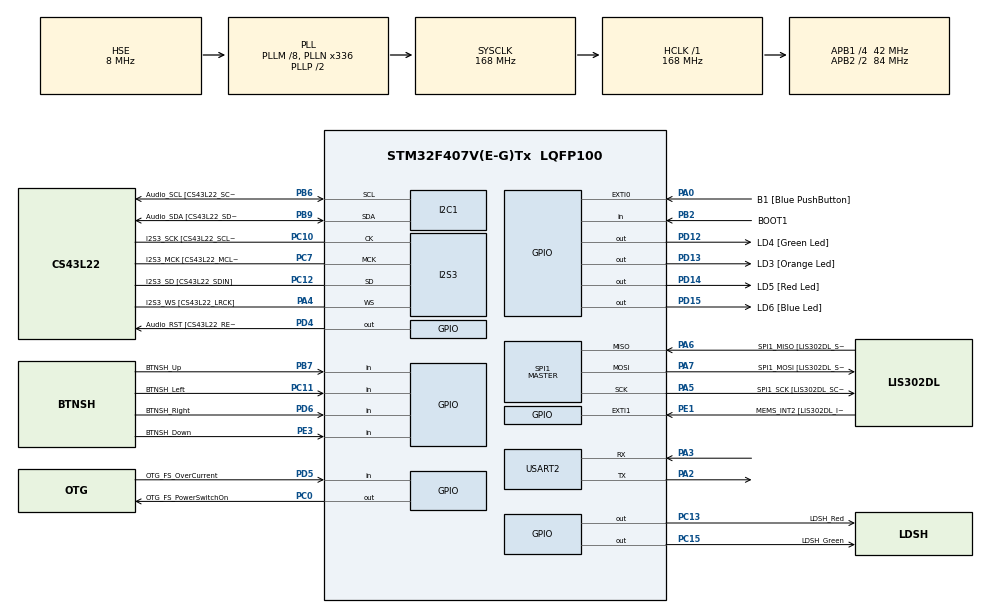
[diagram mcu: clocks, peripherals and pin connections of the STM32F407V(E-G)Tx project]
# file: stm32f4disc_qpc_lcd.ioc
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I2S3.AudioFreq-Half_Duplex_Master=I2S_AUDIOFREQ_96K
I2S3.ErrorAudioFreq=-2.34 %
I2S3.ErrorAudioFreq-Half_Duplex_Master=0.8 %
I2S3.FullDuplexMode=I2S_FULLDUPLEXMODE_DISABLE
I2S3.Instance=SPI$Index
I2S3.RealAudioFreq=93.75 KHz
I2S3.RealAudioFreq-Half_Duplex_Master=96.774 KHz
I2S3.VirtualMode=I2S_MODE_MASTER
Mcu.Family=STM32F4
Mcu.Name=STM32F407V(E-G)Tx
Mcu.Package=LQFP100
NVIC.PriorityGroup=NVIC_PRIORITYGROUP_0
NVIC.USART2_IRQn=true\:0\:0\:false\:false\:false\:true\:true
PA0-WKUP.GPIO_Label=B1 [Blue PushButton]
PA0-WKUP.GPIO_ModeDefaultEXTI=GPIO_MODE_EVT_RISING
PA0-WKUP.GPIO_PuPd=GPIO_NOPULL
PA0-WKUP.Signal=GPXTI0
PA10.GPIO_Label=OTG_FS_ID
PA10.GPIO_Mode=GPIO_MODE_AF_PP
PA10.GPIO_PuPd=GPIO_NOPULL
PA10.GPIO_Speed=GPIO_SPEED_FREQ_LOW
PA10.Signal=USB_OTG_FS_ID
PA11.GPIO_Label=OTG_FS_DM
PA11.GPIO_Mode=GPIO_MODE_AF_PP
PA11.GPIO_PuPd=GPIO_NOPULL
PA11.GPIO_Speed=GPIO_SPEED_FREQ_LOW
PA11.Signal=USB_OTG_FS_DM
PA12.GPIO_Label=OTG_FS_DP
PA12.GPIO_Mode=GPIO_MODE_AF_PP
PA12.GPIO_PuPd=GPIO_NOPULL
PA12.GPIO_Speed=GPIO_SPEED_FREQ_LOW
PA12.Signal=USB_OTG_FS_DP
PA13.GPIO_Label=SWDIO
PA13.Mode=Serial_Wire
PA13.Signal=SYS_JTMS-SWDIO
PA14.GPIO_Label=SWCLK
PA14.Mode=Serial_Wire
PA14.Signal=SYS_JTCK-SWCLK
PA2.Mode=Asynchronous
PA2.Signal=USART2_TX
PA3.Mode=Asynchronous
PA3.Signal=USART2_RX
PA4.GPIO_Label=I2S3_WS [CS43L22_LRCK]
PA4.GPIO_Mode=GPIO_MODE_AF_PP
PA4.GPIO_PuPd=GPIO_NOPULL
PA4.GPIO_Speed=GPIO_SPEED_FREQ_LOW
PA4.Mode=Half_Duplex_Master
PA4.Signal=I2S3_WS
PA5.GPIO_Label=SPI1_SCK [LIS302DL_SCL/SPC]
PA5.GPIO_Mode=GPIO_MODE_AF_PP
PA5.GPIO_PuPd=GPIO_NOPULL
PA5.GPIO_Speed=GPIO_SPEED_FREQ_LOW
PA5.Mode=Full_Duplex_Master
PA5.Signal=SPI1_SCK
PA6.GPIO_Label=SPI1_MISO [LIS302DL_SDO]
PA6.GPIO_Mode=GPIO_MODE_AF_PP
PA6.GPIO_PuPd=GPIO_NOPULL
PA6.GPIO_Speed=GPIO_SPEED_FREQ_LOW
PA6.Mode=Full_Duplex_Master
PA6.Signal=SPI1_MISO
PA7.GPIO_Label=SPI1_MOSI [LIS302DL_SDA/SDI/SDO]
PA7.GPIO_Mode=GPIO_MODE_AF_PP
PA7.GPIO_PuPd=GPIO_NOPULL
PA7.GPIO_Speed=GPIO_SPEED_FREQ_LOW
PA7.Mode=Full_Duplex_Master
PA7.Signal=SPI1_MOSI
PA9.GPIO_Label=VBUS_FS
PA9.GPIO_Mode=GPIO_MODE_INPUT
PA9.GPIO_PuPd=GPIO_NOPULL
PA9.Signal=USB_OTG_FS_VBUS
PB10.GPIO_Label=CLK_IN [MP45DT02_CLK]
PB10.GPIO_Mode=GPIO_MODE_AF_PP
PB10.GPIO_PuPd=GPIO_NOPULL
PB10.GPIO_Speed=GPIO_SPEED_FREQ_LOW
PB10.Signal=I2S2_CK
PB2.GPIO_Label=BOOT1
PB2.GPIO_Mode=GPIO_MODE_INPUT
PB2.GPIO_PuPd=GPIO_NOPULL
PB2.Signal=GPIO_Input
PB3.GPIO_Label=SWO
PB3.Signal=SYS_JTDO-SWO
PB6.GPIO_Label=Audio_SCL [CS43L22_SCL]
PB6.GPIO_Mode=GPIO_MODE_AF_OD
PB6.GPIO_PuPd=GPIO_NOPULL
PB6.GPIO_Speed=GPIO_SPEED_FREQ_LOW
PB6.Mode=I2C
PB6.Signal=I2C1_SCL
PB7.GPIO_Label=BTNSH_Up
PB7.GPIO_PuPd=GPIO_PULLUP
PB7.Signal=GPIO_Input
PB9.GPIO_Label=Audio_SDA [CS43L22_SDA]
PB9.GPIO_Mode=GPIO_MODE_AF_OD
PB9.GPIO_PuPd=GPIO_NOPULL
PB9.GPIO_Speed=GPIO_SPEED_FREQ_LOW
PB9.Mode=I2C
PB9.Signal=I2C1_SDA
PC0.GPIO_Label=OTG_FS_PowerSwitchOn
PC0.GPIO_PuPd=GPIO_NOPULL
PC0.GPIO_Speed=GPIO_SPEED_FREQ_LOW
PC0.PinState=GPIO_PIN_SET
PC0.Signal=GPIO_Output
PC10.GPIO_Label=I2S3_SCK [CS43L22_SCLK]
PC10.GPIO_Mode=GPIO_MODE_AF_PP
PC10.GPIO_PuPd=GPIO_NOPULL
PC10.GPIO_Speed=GPIO_SPEED_FREQ_LOW
PC10.Mode=Half_Duplex_Master
PC10.Signal=I2S3_CK
PC11.GPIO_Label=BTNSH_Left
PC11.GPIO_PuPd=GPIO_PULLUP
PC11.Signal=GPIO_Input
PC12.GPIO_Label=I2S3_SD [CS43L22_SDIN]
PC12.GPIO_Mode=GPIO_MODE_AF_PP
PC12.GPIO_PuPd=GPIO_NOPULL
PC12.GPIO_Speed=GPIO_SPEED_FREQ_LOW
PC12.Mode=Half_Duplex_Master
PC12.Signal=I2S3_SD
PC13-ANTI_TAMP.GPIO_Label=LDSH_Red
PC13-ANTI_TAMP.Signal=GPIO_Output
PC15-OSC32_OUT.GPIO_Label=LDSH_Green
PC15-OSC32_OUT.Signal=GPIO_Output
PC3.GPIO_Label=PDM_OUT [MP45DT02_DOUT]
PC3.GPIO_Mode=GPIO_MODE_AF_PP
PC3.GPIO_PuPd=GPIO_NOPULL
PC3.GPIO_Speed=GPIO_SPEED_FREQ_LOW
PC3.Signal=I2S2_SD
PC7.GPIO_Label=I2S3_MCK [CS43L22_MCLK]
PC7.GPIO_Mode=GPIO_MODE_AF_PP
PC7.GPIO_PuPd=GPIO_NOPULL
PC7.GPIO_Speed=GPIO_SPEED_FREQ_LOW
PC7.Mode=Master_Clock_Activated
PC7.Signal=I2S3_MCK
PD12.GPIO_Label=LD4 [Green Led]
PD12.GPIO_PuPd=GPIO_NOPULL
PD12.GPIO_Speed=GPIO_SPEED_FREQ_LOW
PD12.Signal=GPIO_Output
PD13.GPIO_Label=LD3 [Orange Led]
PD13.GPIO_PuPd=GPIO_NOPULL
PD13.GPIO_Speed=GPIO_SPEED_FREQ_LOW
PD13.Signal=GPIO_Output
PD14.GPIO_Label=LD5 [Red Led]
PD14.GPIO_PuPd=GPIO_NOPULL
PD14.GPIO_Speed=GPIO_SPEED_FREQ_LOW
PD14.Signal=GPIO_Output
PD15.GPIO_Label=LD6 [Blue Led]
PD15.GPIO_PuPd=GPIO_NOPULL
PD15.GPIO_Speed=GPIO_SPEED_FREQ_LOW
PD15.Signal=GPIO_Output
PD4.GPIO_Label=Audio_RST [CS43L22_RESET]
PD4.GPIO_PuPd=GPIO_NOPULL
PD4.GPIO_Speed=GPIO_SPEED_FREQ_LOW
PD4.Signal=GPIO_Output
PD5.GPIO_Label=OTG_FS_OverCurrent
PD5.GPIO_Mode=GPIO_MODE_INPUT
PD5.GPIO_PuPd=GPIO_NOPULL
PD5.Signal=GPIO_Input
PD6.GPIO_Label=BTNSH_Right
PD6.GPIO_PuPd=GPIO_PULLUP
PD6.Signal=GPIO_Input
PE1.GPIO_Label=MEMS_INT2 [LIS302DL_INT2]
PE1.GPIO_ModeDefaultEXTI=GPIO_MODE_EVT_RISING
PE1.GPIO_PuPd=GPIO_NOPULL
PE1.Signal=GPXTI1
PE3.GPIO_Label=BTNSH_Down
PE3.GPIO_PuPd=GPIO_PULLUP
PE3.Signal=GPIO_Input
PH0-OSC_IN.GPIO_Label=PH0-OSC_IN
PH0-OSC_IN.Mode=HSE-External-Oscillator
PH0-OSC_IN.Signal=RCC_OSC_IN
PH1-OSC_OUT.GPIO_Label=PH1-OSC_OUT
PH1-OSC_OUT.Mode=HSE-External-Oscillator
PH1-OSC_OUT.Signal=RCC_OSC_OUT
ProjectManager.HeapSize=0x200
ProjectManager.StackSize=0x400
ProjectManager.TargetToolchain=Makefile
RCC.48MHZClocksFreq_Value=48000000
RCC.AHBFreq_Value=168000000
RCC.APB1CLKDivider=RCC_HCLK_DIV4
RCC.APB1Freq_Value=42000000
RCC.APB1TimFreq_Value=84000000
RCC.APB2CLKDivider=RCC_HCLK_DIV2
RCC.APB2Freq_Value=84000000
RCC.APB2TimFreq_Value=168000000
RCC.CortexFreq_Value=168000000
RCC.HCLKFreq_Value=168000000
RCC.HSE_VALUE=8000000
RCC.HSI_VALUE=16000000
RCC.LSE_VALUE=32768
RCC.PLLM=8
RCC.PLLN=336
RCC.PLLQ=7
RCC.PLLSourceVirtual=RCC_PLLSOURCE_HSE
RCC.SYSCLKFreq_VALUE=168000000
RCC.SYSCLKSource=RCC_SYSCLKSOURCE_PLLCLK
RCC.VCOOutputFreq_Value=336000000
SPI1.BaudRatePrescaler-Full_Duplex_Master=SPI_BAUDRATEPRESCALER_2
SPI1.CalculateBaudRate-Full_Duplex_Master=42.0 MBits/s
SPI1.Direction=SPI_DIRECTION_2LINES
SPI1.Mode=SPI_MODE_MASTER
SPI1.Mode-Full_Duplex_Master=SPI_MODE_MASTER
SPI1.VirtualType=VM_MASTER
USART2.VirtualMode=VM_ASYNC
board=STM32F4DISCOVERY

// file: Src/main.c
/* USER CODE BEGIN Header */
/**
  ******************************************************************************
  * @file           : main.c
  * @brief          : Main program body
  ******************************************************************************
  * This notice applies to any and all portions of this file
  * that are not between comment pairs USER CODE BEGIN and
  * USER CODE END. Other portions of this file, whether
  * inserted by the user or by software development tools
  * are owned by their respective copyright owners.
  *
  * Copyright (c) 2019 STMicroelectronics International N.V.
  * All rights reserved.
  *
  * Redistribution and use in source and binary forms, with or without
  * modification, are permitted, provided that the following conditions are met:
  *
  * 1. Redistribution of source code must retain the above copyright notice,
  *    this list of conditions and the following disclaimer.
  * 2. Redistributions in binary form must reproduce the above copyright notice,
  *    this list of conditions and the following disclaimer in the documentation
  *    and/or other materials provided with the distribution.
  * 3. Neither the name of STMicroelectronics nor the names of other
  *    contributors to this software may be used to endorse or promote products
  *    derived from this software without specific written permission.
  * 4. This software, including modifications and/or derivative works of this
  *    software, must execute solely and exclusively on microcontroller or
  *    microprocessor devices manufactured by or for STMicroelectronics.
  * 5. Redistribution and use of this software other than as permitted under
  *    this license is void and will automatically terminate your rights under
  *    this license.
  *
  * THIS SOFTWARE IS PROVIDED BY STMICROELECTRONICS AND CONTRIBUTORS "AS IS"
  * AND ANY EXPRESS, IMPLIED OR STATUTORY WARRANTIES, INCLUDING, BUT NOT
  * LIMITED TO, THE IMPLIED WARRANTIES OF MERCHANTABILITY, FITNESS FOR A
  * PARTICULAR PURPOSE AND NON-INFRINGEMENT OF THIRD PARTY INTELLECTUAL PROPERTY
  * RIGHTS ARE DISCLAIMED TO THE FULLEST EXTENT PERMITTED BY LAW. IN NO EVENT
  * SHALL STMICROELECTRONICS OR CONTRIBUTORS BE LIABLE FOR ANY DIRECT, INDIRECT,
  * INCIDENTAL, SPECIAL, EXEMPLARY, OR CONSEQUENTIAL DAMAGES (INCLUDING, BUT NOT
  * LIMITED TO, PROCUREMENT OF SUBSTITUTE GOODS OR SERVICES; LOSS OF USE, DATA,
  * OR PROFITS; OR BUSINESS INTERRUPTION) HOWEVER CAUSED AND ON ANY THEORY OF
  * LIABILITY, WHETHER IN CONTRACT, STRICT LIABILITY, OR TORT (INCLUDING
  * NEGLIGENCE OR OTHERWISE) ARISING IN ANY WAY OUT OF THE USE OF THIS SOFTWARE,
  * EVEN IF ADVISED OF THE POSSIBILITY OF SUCH DAMAGE.
  *
  ******************************************************************************
  */
#include <stdint.h>
/* USER CODE END Header */

#include "main.h"
#include "lvgl.h"

/* USER CODE BEGIN Includes */
#include "qpc.h"
#include "bsp.h"
#include "AppAO.h"
#include "AppSM.h"
/* USER CODE END Includes */

/* USER CODE BEGIN PD */
#define APP_QUEUE_SIZE 5
Q_DEFINE_THIS_FILE
/* USER CODE END PD */

I2C_HandleTypeDef hi2c1;

I2S_HandleTypeDef hi2s3;

SPI_HandleTypeDef hspi1;

/* USER CODE BEGIN PV */
static QEvt const *appQueueSto[APP_QUEUE_SIZE];
static QSubscrList subscrSto[MAX_PUB_SIG];
static QF_MPOOL_EL(key_event_t) smlPoolSto[10];

static QTicker l_ticker0;
QActive *the_Ticker0 = &l_ticker0;
/* USER CODE END PV */

void SystemClock_Config(void);
static void MX_GPIO_Init(void);
static void MX_I2S3_Init(void);
static void MX_SPI1_Init(void);
static void MX_USART2_UART_Init(void);
static void MX_I2C1_Init(void);

int main(void)
{
  /* USER CODE BEGIN 1 */
	QTicker_ctor(&l_ticker0, 0U); /* ticker AO for tick rate 0 */
	AppAO_ctor();
	QF_init();

	/* init publish-subscribe... */
	QF_psInit(subscrSto, Q_DIM(subscrSto));

	/* initialize event pools... */
	QF_poolInit(smlPoolSto, sizeof(smlPoolSto), sizeof(smlPoolSto[0]));

  /* USER CODE END 1 */

  /* MCU Configuration--------------------------------------------------------*/

  /* Reset of all peripherals, Initializes the Flash interface and the Systick. */
  HAL_Init();

  /* Configure the system clock */
  SystemClock_Config();

  /* USER CODE BEGIN SysInit */

  /* initialize the Board Support Package
  * NOTE: BSP_init() is called *after* initializing publish-subscribe and
  * event pools, to make the system ready to accept SysTick interrupts.
  * Unfortunately, the STM32Cube code that must be called from BSP,
  * configures and starts SysTick.
  */

  /* USER CODE END SysInit */

  /* Initialize all configured peripherals */
  MX_GPIO_Init();
  MX_I2S3_Init();
  MX_SPI1_Init();
  MX_USART2_UART_Init();
  MX_I2C1_Init();
  /* USER CODE BEGIN 2 */
  BSP_init();

  /* object dictionaries for AOs... */
  QS_OBJ_DICTIONARY(AO_App);

  /* signal dictionaries for globally published events... */
  QS_SIG_DICTIONARY(BTNSH_ON,      (void *)0);
  QS_SIG_DICTIONARY(BTNSH_OFF,     (void *)0);

  QACTIVE_START(the_Ticker0, 1U, 0, 0, 0, 0, 0);
  QACTIVE_START(AO_App,                  /* AO to start */
                (uint_fast8_t)(2),       /* QP priority of the AO */
				appQueueSto,             /* event queue storage */
                Q_DIM(appQueueSto),      /* queue length [events] */
                (void *)0,                 /* stack storage (not used) */
                0U,                        /* size of the stack [bytes] */
                (QEvt *)0);                /* initialization event */

  return QF_run(); /* run the QF application */
#if 0
  /* USER CODE END 2 */

  /* Infinite loop */
  while (1)
  {

    /* USER CODE BEGIN 3 */
  }
#endif
  /* USER CODE END 3 */
}

void SystemClock_Config(void)
{
  RCC_OscInitTypeDef RCC_OscInitStruct = {0};
  RCC_ClkInitTypeDef RCC_ClkInitStruct = {0};
  RCC_PeriphCLKInitTypeDef PeriphClkInitStruct = {0};

  /** Configure the main internal regulator output voltage
  */
  __HAL_RCC_PWR_CLK_ENABLE();
  __HAL_PWR_VOLTAGESCALING_CONFIG(PWR_REGULATOR_VOLTAGE_SCALE1);
  /** Initializes the CPU, AHB and APB busses clocks
  */
  RCC_OscInitStruct.OscillatorType = RCC_OSCILLATORTYPE_HSE;
  RCC_OscInitStruct.HSEState = RCC_HSE_ON;
  RCC_OscInitStruct.PLL.PLLState = RCC_PLL_ON;
  RCC_OscInitStruct.PLL.PLLSource = RCC_PLLSOURCE_HSE;
  RCC_OscInitStruct.PLL.PLLM = 8;
  RCC_OscInitStruct.PLL.PLLN = 336;
  RCC_OscInitStruct.PLL.PLLP = RCC_PLLP_DIV2;
  RCC_OscInitStruct.PLL.PLLQ = 7;
  if (HAL_RCC_OscConfig(&RCC_OscInitStruct) != HAL_OK)
  {
    Error_Handler();
  }
  /** Initializes the CPU, AHB and APB busses clocks
  */
  RCC_ClkInitStruct.ClockType = RCC_CLOCKTYPE_HCLK|RCC_CLOCKTYPE_SYSCLK
                              |RCC_CLOCKTYPE_PCLK1|RCC_CLOCKTYPE_PCLK2;
  RCC_ClkInitStruct.SYSCLKSource = RCC_SYSCLKSOURCE_PLLCLK;
  RCC_ClkInitStruct.AHBCLKDivider = RCC_SYSCLK_DIV1;
  RCC_ClkInitStruct.APB1CLKDivider = RCC_HCLK_DIV4;
  RCC_ClkInitStruct.APB2CLKDivider = RCC_HCLK_DIV2;

  if (HAL_RCC_ClockConfig(&RCC_ClkInitStruct, FLASH_LATENCY_5) != HAL_OK)
  {
    Error_Handler();
  }
  PeriphClkInitStruct.PeriphClockSelection = RCC_PERIPHCLK_I2S;
  PeriphClkInitStruct.PLLI2S.PLLI2SN = 192;
  PeriphClkInitStruct.PLLI2S.PLLI2SR = 2;
  if (HAL_RCCEx_PeriphCLKConfig(&PeriphClkInitStruct) != HAL_OK)
  {
    Error_Handler();
  }
}

static void MX_I2C1_Init(void)
{

  hi2c1.Instance = I2C1;
  hi2c1.Init.ClockSpeed = 100000;
  hi2c1.Init.DutyCycle = I2C_DUTYCYCLE_2;
  hi2c1.Init.OwnAddress1 = 0;
  hi2c1.Init.AddressingMode = I2C_ADDRESSINGMODE_7BIT;
  hi2c1.Init.DualAddressMode = I2C_DUALADDRESS_DISABLE;
  hi2c1.Init.OwnAddress2 = 0;
  hi2c1.Init.GeneralCallMode = I2C_GENERALCALL_DISABLE;
  hi2c1.Init.NoStretchMode = I2C_NOSTRETCH_DISABLE;
  if (HAL_I2C_Init(&hi2c1) != HAL_OK)
  {
    Error_Handler();
  }

}

static void MX_I2S3_Init(void)
{

  hi2s3.Instance = SPI3;
  hi2s3.Init.Mode = I2S_MODE_MASTER_TX;
  hi2s3.Init.Standard = I2S_STANDARD_PHILIPS;
  hi2s3.Init.DataFormat = I2S_DATAFORMAT_16B;
  hi2s3.Init.MCLKOutput = I2S_MCLKOUTPUT_ENABLE;
  hi2s3.Init.AudioFreq = I2S_AUDIOFREQ_96K;
  hi2s3.Init.CPOL = I2S_CPOL_LOW;
  hi2s3.Init.ClockSource = I2S_CLOCK_PLL;
  hi2s3.Init.FullDuplexMode = I2S_FULLDUPLEXMODE_DISABLE;
  if (HAL_I2S_Init(&hi2s3) != HAL_OK)
  {
    Error_Handler();
  }

}

static void MX_SPI1_Init(void)
{

  /* SPI1 parameter configuration*/
  hspi1.Instance = SPI1;
  hspi1.Init.Mode = SPI_MODE_MASTER;
  hspi1.Init.Direction = SPI_DIRECTION_2LINES;
  hspi1.Init.DataSize = SPI_DATASIZE_8BIT;
  hspi1.Init.CLKPolarity = SPI_POLARITY_LOW;
  hspi1.Init.CLKPhase = SPI_PHASE_1EDGE;
  hspi1.Init.NSS = SPI_NSS_SOFT;
  hspi1.Init.BaudRatePrescaler = SPI_BAUDRATEPRESCALER_2;
  hspi1.Init.FirstBit = SPI_FIRSTBIT_MSB;
  hspi1.Init.TIMode = SPI_TIMODE_DISABLE;
  hspi1.Init.CRCCalculation = SPI_CRCCALCULATION_DISABLE;
  hspi1.Init.CRCPolynomial = 10;
  if (HAL_SPI_Init(&hspi1) != HAL_OK)
  {
    Error_Handler();
  }

}

static void MX_USART2_UART_Init(void)
{

  LL_USART_InitTypeDef USART_InitStruct = {0};

  LL_GPIO_InitTypeDef GPIO_InitStruct = {0};

  /* Peripheral clock enable */
  LL_APB1_GRP1_EnableClock(LL_APB1_GRP1_PERIPH_USART2);

  LL_AHB1_GRP1_EnableClock(LL_AHB1_GRP1_PERIPH_GPIOA);
  /**USART2 GPIO Configuration
  PA2   ------> USART2_TX
  PA3   ------> USART2_RX
  */
  GPIO_InitStruct.Pin = LL_GPIO_PIN_2|LL_GPIO_PIN_3;
  GPIO_InitStruct.Mode = LL_GPIO_MODE_ALTERNATE;
  GPIO_InitStruct.Speed = LL_GPIO_SPEED_FREQ_VERY_HIGH;
  GPIO_InitStruct.OutputType = LL_GPIO_OUTPUT_PUSHPULL;
  GPIO_InitStruct.Pull = LL_GPIO_PULL_UP;
  GPIO_InitStruct.Alternate = LL_GPIO_AF_7;
  LL_GPIO_Init(GPIOA, &GPIO_InitStruct);

  /* USART2 interrupt Init */
  NVIC_SetPriority(USART2_IRQn, NVIC_EncodePriority(NVIC_GetPriorityGrouping(),0, 0));
  NVIC_EnableIRQ(USART2_IRQn);

  USART_InitStruct.BaudRate = 115200;
  USART_InitStruct.DataWidth = LL_USART_DATAWIDTH_8B;
  USART_InitStruct.StopBits = LL_USART_STOPBITS_1;
  USART_InitStruct.Parity = LL_USART_PARITY_NONE;
  USART_InitStruct.TransferDirection = LL_USART_DIRECTION_TX_RX;
  USART_InitStruct.HardwareFlowControl = LL_USART_HWCONTROL_NONE;
  USART_InitStruct.OverSampling = LL_USART_OVERSAMPLING_16;
  LL_USART_Init(USART2, &USART_InitStruct);
  LL_USART_ConfigAsyncMode(USART2);
  LL_USART_Enable(USART2);

}

static void MX_GPIO_Init(void)
{
  LL_EXTI_InitTypeDef EXTI_InitStruct = {0};
  LL_GPIO_InitTypeDef GPIO_InitStruct = {0};

  /* GPIO Ports Clock Enable */
  LL_AHB1_GRP1_EnableClock(LL_AHB1_GRP1_PERIPH_GPIOE);
  LL_AHB1_GRP1_EnableClock(LL_AHB1_GRP1_PERIPH_GPIOC);
  LL_AHB1_GRP1_EnableClock(LL_AHB1_GRP1_PERIPH_GPIOH);
  LL_AHB1_GRP1_EnableClock(LL_AHB1_GRP1_PERIPH_GPIOA);
  LL_AHB1_GRP1_EnableClock(LL_AHB1_GRP1_PERIPH_GPIOB);
  LL_AHB1_GRP1_EnableClock(LL_AHB1_GRP1_PERIPH_GPIOD);

  /**/
  LL_GPIO_ResetOutputPin(GPIOC, LDSH_Red_Pin|LDSH_Green_Pin);

  /**/
  LL_GPIO_ResetOutputPin(GPIOD, LD4_Pin|LD3_Pin|LD5_Pin|LD6_Pin
                          |Audio_RST_Pin);

  /**/
  LL_GPIO_SetOutputPin(OTG_FS_PowerSwitchOn_GPIO_Port, OTG_FS_PowerSwitchOn_Pin);

  /**/
  GPIO_InitStruct.Pin = BTNSH_Down_Pin;
  GPIO_InitStruct.Mode = LL_GPIO_MODE_INPUT;
  GPIO_InitStruct.Pull = LL_GPIO_PULL_UP;
  LL_GPIO_Init(BTNSH_Down_GPIO_Port, &GPIO_InitStruct);

  /**/
  GPIO_InitStruct.Pin = LDSH_Red_Pin|LDSH_Green_Pin|OTG_FS_PowerSwitchOn_Pin;
  GPIO_InitStruct.Mode = LL_GPIO_MODE_OUTPUT;
  GPIO_InitStruct.Speed = LL_GPIO_SPEED_FREQ_LOW;
  GPIO_InitStruct.OutputType = LL_GPIO_OUTPUT_PUSHPULL;
  GPIO_InitStruct.Pull = LL_GPIO_PULL_NO;
  LL_GPIO_Init(GPIOC, &GPIO_InitStruct);

  /**/
  GPIO_InitStruct.Pin = PDM_OUT_Pin;
  GPIO_InitStruct.Mode = LL_GPIO_MODE_ALTERNATE;
  GPIO_InitStruct.Speed = LL_GPIO_SPEED_FREQ_LOW;
  GPIO_InitStruct.OutputType = LL_GPIO_OUTPUT_PUSHPULL;
  GPIO_InitStruct.Pull = LL_GPIO_PULL_NO;
  GPIO_InitStruct.Alternate = LL_GPIO_AF_5;
  LL_GPIO_Init(PDM_OUT_GPIO_Port, &GPIO_InitStruct);

  /**/
  GPIO_InitStruct.Pin = BOOT1_Pin;
  GPIO_InitStruct.Mode = LL_GPIO_MODE_INPUT;
  GPIO_InitStruct.Pull = LL_GPIO_PULL_NO;
  LL_GPIO_Init(BOOT1_GPIO_Port, &GPIO_InitStruct);

  /**/
  GPIO_InitStruct.Pin = CLK_IN_Pin;
  GPIO_InitStruct.Mode = LL_GPIO_MODE_ALTERNATE;
  GPIO_InitStruct.Speed = LL_GPIO_SPEED_FREQ_LOW;
  GPIO_InitStruct.OutputType = LL_GPIO_OUTPUT_PUSHPULL;
  GPIO_InitStruct.Pull = LL_GPIO_PULL_NO;
  GPIO_InitStruct.Alternate = LL_GPIO_AF_5;
  LL_GPIO_Init(CLK_IN_GPIO_Port, &GPIO_InitStruct);

  /**/
  GPIO_InitStruct.Pin = LD4_Pin|LD3_Pin|LD5_Pin|LD6_Pin
                          |Audio_RST_Pin;
  GPIO_InitStruct.Mode = LL_GPIO_MODE_OUTPUT;
  GPIO_InitStruct.Speed = LL_GPIO_SPEED_FREQ_LOW;
  GPIO_InitStruct.OutputType = LL_GPIO_OUTPUT_PUSHPULL;
  GPIO_InitStruct.Pull = LL_GPIO_PULL_NO;
  LL_GPIO_Init(GPIOD, &GPIO_InitStruct);

  /**/
  GPIO_InitStruct.Pin = VBUS_FS_Pin;
  GPIO_InitStruct.Mode = LL_GPIO_MODE_INPUT;
  GPIO_InitStruct.Pull = LL_GPIO_PULL_NO;
  LL_GPIO_Init(VBUS_FS_GPIO_Port, &GPIO_InitStruct);

  /**/
  GPIO_InitStruct.Pin = OTG_FS_ID_Pin|OTG_FS_DM_Pin|OTG_FS_DP_Pin;
  GPIO_InitStruct.Mode = LL_GPIO_MODE_ALTERNATE;
  GPIO_InitStruct.Speed = LL_GPIO_SPEED_FREQ_LOW;
  GPIO_InitStruct.OutputType = LL_GPIO_OUTPUT_PUSHPULL;
  GPIO_InitStruct.Pull = LL_GPIO_PULL_NO;
  GPIO_InitStruct.Alternate = LL_GPIO_AF_10;
  LL_GPIO_Init(GPIOA, &GPIO_InitStruct);

  /**/
  GPIO_InitStruct.Pin = BTNSH_Left_Pin;
  GPIO_InitStruct.Mode = LL_GPIO_MODE_INPUT;
  GPIO_InitStruct.Pull = LL_GPIO_PULL_UP;
  LL_GPIO_Init(BTNSH_Left_GPIO_Port, &GPIO_InitStruct);

  /**/
  GPIO_InitStruct.Pin = OTG_FS_OverCurrent_Pin;
  GPIO_InitStruct.Mode = LL_GPIO_MODE_INPUT;
  GPIO_InitStruct.Pull = LL_GPIO_PULL_NO;
  LL_GPIO_Init(OTG_FS_OverCurrent_GPIO_Port, &GPIO_InitStruct);

  /**/
  GPIO_InitStruct.Pin = BTNSH_Right_Pin;
  GPIO_InitStruct.Mode = LL_GPIO_MODE_INPUT;
  GPIO_InitStruct.Pull = LL_GPIO_PULL_UP;
  LL_GPIO_Init(BTNSH_Right_GPIO_Port, &GPIO_InitStruct);

  /**/
  GPIO_InitStruct.Pin = BTNSH_Up_Pin;
  GPIO_InitStruct.Mode = LL_GPIO_MODE_INPUT;
  GPIO_InitStruct.Pull = LL_GPIO_PULL_UP;
  LL_GPIO_Init(BTNSH_Up_GPIO_Port, &GPIO_InitStruct);

  /**/
  LL_SYSCFG_SetEXTISource(LL_SYSCFG_EXTI_PORTA, LL_SYSCFG_EXTI_LINE0);

  /**/
  LL_SYSCFG_SetEXTISource(LL_SYSCFG_EXTI_PORTE, LL_SYSCFG_EXTI_LINE1);

  /**/
  EXTI_InitStruct.Line_0_31 = LL_EXTI_LINE_0;
  EXTI_InitStruct.LineCommand = ENABLE;
  EXTI_InitStruct.Mode = LL_EXTI_MODE_EVENT;
  EXTI_InitStruct.Trigger = LL_EXTI_TRIGGER_RISING;
  LL_EXTI_Init(&EXTI_InitStruct);

  /**/
  EXTI_InitStruct.Line_0_31 = LL_EXTI_LINE_1;
  EXTI_InitStruct.LineCommand = ENABLE;
  EXTI_InitStruct.Mode = LL_EXTI_MODE_EVENT;
  EXTI_InitStruct.Trigger = LL_EXTI_TRIGGER_RISING;
  LL_EXTI_Init(&EXTI_InitStruct);

  /**/
  LL_GPIO_SetPinPull(B1_GPIO_Port, B1_Pin, LL_GPIO_PULL_NO);

  /**/
  LL_GPIO_SetPinPull(MEMS_INT2_GPIO_Port, MEMS_INT2_Pin, LL_GPIO_PULL_NO);

  /**/
  LL_GPIO_SetPinMode(B1_GPIO_Port, B1_Pin, LL_GPIO_MODE_INPUT);

  /**/
  LL_GPIO_SetPinMode(MEMS_INT2_GPIO_Port, MEMS_INT2_Pin, LL_GPIO_MODE_INPUT);

}

void Error_Handler(void)
{
}

/************************ (C) COPYRIGHT STMicroelectronics *****END OF FILE****/
